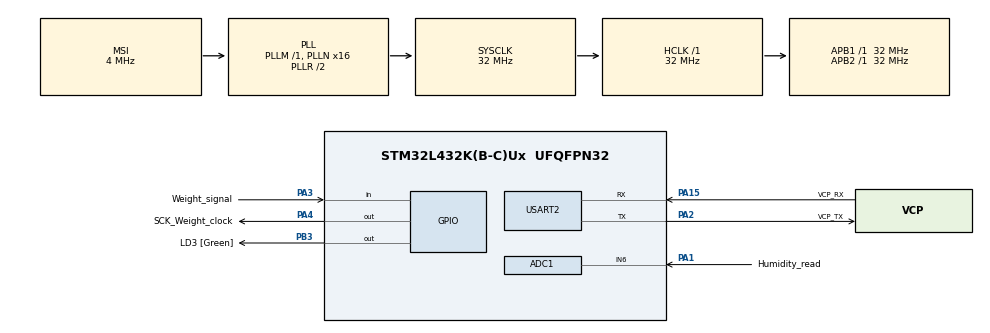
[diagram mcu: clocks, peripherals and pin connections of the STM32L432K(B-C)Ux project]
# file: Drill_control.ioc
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ADC1.Channel-0\#ChannelRegularConversion=ADC_CHANNEL_6
ADC1.NbrOfConversionFlag=1
ADC1.OffsetNumber-0\#ChannelRegularConversion=ADC_OFFSET_NONE
ADC1.Rank-0\#ChannelRegularConversion=1
ADC1.SamplingTime-0\#ChannelRegularConversion=ADC_SAMPLETIME_2CYCLES_5
ADC1.master=1
Mcu.Family=STM32L4
Mcu.Name=STM32L432K(B-C)Ux
Mcu.Package=UFQFPN32
NVIC.PriorityGroup=NVIC_PRIORITYGROUP_4
PA0.GPIO_Label=MCO [High speed clock in]
PA0.Mode=HSE-External-Clock-Source-for-LittleOrca
PA0.Signal=RCC_CK_IN
PA1.GPIO_Label=Humidity_read
PA1.GPIO_PuPd=GPIO_NOPULL
PA1.Signal=SharedAnalog_PA1
PA13\ (JTMS-SWDIO).GPIO_Label=SWDIO
PA13\ (JTMS-SWDIO).Mode=Serial_Wire
PA13\ (JTMS-SWDIO).Signal=SYS_JTMS-SWDIO
PA14\ (JTCK-SWCLK).GPIO_Label=SWCLK
PA14\ (JTCK-SWCLK).Mode=Serial_Wire
PA14\ (JTCK-SWCLK).Signal=SYS_JTCK-SWCLK
PA15\ (JTDI).GPIO_Label=VCP_RX
PA15\ (JTDI).Mode=Asynchronous
PA15\ (JTDI).Signal=USART2_RX
PA2.GPIO_Label=VCP_TX
PA2.Mode=Asynchronous
PA2.Signal=USART2_TX
PA3.GPIO_Label=Weight_signal
PA3.GPIO_PuPd=GPIO_PULLUP
PA3.Signal=GPIO_Input
PA4.GPIO_Label=SCK_Weight_clock
PA4.GPIO_Speed=GPIO_SPEED_FREQ_HIGH
PA4.Signal=GPIO_Output
PB3\ (JTDO-TRACESWO).GPIO_Label=LD3 [Green]
PB3\ (JTDO-TRACESWO).GPIO_Speed=GPIO_SPEED_FREQ_HIGH
PB3\ (JTDO-TRACESWO).Signal=GPIO_Output
PC14-OSC32_IN\ (PC14).Mode=LSE-External-Oscillator
PC14-OSC32_IN\ (PC14).Signal=RCC_OSC32_IN
PC15-OSC32_OUT\ (PC15).Mode=LSE-External-Oscillator
PC15-OSC32_OUT\ (PC15).Signal=RCC_OSC32_OUT
ProjectManager.HeapSize=0x200
ProjectManager.StackSize=0x400
ProjectManager.TargetToolchain=STM32CubeIDE
RCC.ADCFreq_Value=32000000
RCC.AHBFreq_Value=32000000
RCC.APB1Freq_Value=32000000
RCC.APB1TimFreq_Value=32000000
RCC.APB2Freq_Value=32000000
RCC.APB2TimFreq_Value=32000000
RCC.CortexFreq_Value=32000000
RCC.HCLKFreq_Value=32000000
RCC.HSE_VALUE=8000000
RCC.HSI16_VALUE=16000000
RCC.HSI48_VALUE=48000000
RCC.HSI_VALUE=16000000
RCC.MSI_VALUE=4000000
RCC.PLLMUL=RCC_PLLMUL_4
RCC.PLLN=16
RCC.PLLSAI1N=16
RCC.SYSCLKFreq_VALUE=32000000
RCC.SYSCLKSource=RCC_SYSCLKSOURCE_PLLCLK
RCC.USBFreq_Value=32000000
RCC.VCOOutputFreq_Value=64000000
SH.SharedAnalog_PA1.0=GPIO_Analog
SH.SharedAnalog_PA1.1=ADC1_IN6,IN6-Single-Ended
USART2.VirtualMode-Asynchronous=VM_ASYNC
board=NUCLEO-L432KC

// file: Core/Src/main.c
/* USER CODE BEGIN Header */
/**
  ******************************************************************************
  * @file           : main.c
  * @brief          : Main program body
  ******************************************************************************
  * @attention
  *
  * Copyright (c) 2026 STMicroelectronics.
  * All rights reserved.
  *
  * This software is licensed under terms that can be found in the LICENSE file
  * in the root directory of this software component.
  * If no LICENSE file comes with this software, it is provided AS-IS.
  *
  ******************************************************************************
  */
/* USER CODE END Header */
#include "main.h"

/* USER CODE BEGIN Includes */

#include<string.h>
#include "stdio.h"
#include "stm32l4xx_hal_adc.h"
#include "hx711.h"
/* USER CODE END Includes */

ADC_HandleTypeDef hadc1;

UART_HandleTypeDef huart2;

void SystemClock_Config(void);
static void MX_GPIO_Init(void);
static void MX_USART2_UART_Init(void);
static void MX_ADC1_Init(void);

/* USER CODE BEGIN 0 */

int sendUsart2Message(const char * message)
{
	// The null makes the code more reliable in case of internal errors
	// e.g. floats in code can spoil all output messages
	int message_len = strlen(message);
	return HAL_UART_Transmit(&huart2, (uint8_t*)message, message_len, HAL_MAX_DELAY);

}

int readHumidity()
{
	// We assume that the signal is provided to PA1 pin called A1 on the board.
	// The voltage provided is 3.3v.

	//the function gives humidity values on the scale 0-100%.

	/* The humidity sensor has scale MAX_HUMIDITY_LEVEL-MAX_DRYNESS_LEVEL.
	* MAX_DRYNESS_LEVEL is found by placing the sensor in dry air.
	* Should a higher value be noted, please change the value of the constant.
	* In the sensor's signal, values close to 0 indicate very high humidity,
	* like dipping the sensor in water.
	* The sensor's signal is proportional to the humidity registered:
	* The scale is 12cm. Dip it in water up to 4cm and you get 33% humidity.
	* Dip it up to 8cm and you get 69%. Go all in up to the end of the scale and you get 100%.
	*/
	int MAXIMAL_DRYNESS_SIGNAL = 3620;
	int MAXIMAL_HUMIDITY_SIGNAL = 45;

	int HUMIDITY_RANGE = MAXIMAL_DRYNESS_SIGNAL-MAXIMAL_HUMIDITY_SIGNAL;

	uint32_t adc_value = 0;

	HAL_ADC_Start(&hadc1);
	HAL_ADC_PollForConversion(&hadc1, HAL_MAX_DELAY);
	adc_value = HAL_ADC_GetValue(&hadc1);
	HAL_ADC_Stop(&hadc1);

	int humidity=100*(MAXIMAL_DRYNESS_SIGNAL-adc_value)/HUMIDITY_RANGE;

	if (humidity>100)
		return 100;
	if (humidity<0)
		return 0;

	return humidity;
}

void initWeight(){
	/*
	 * In this configuration:
	 * Weight_signal on PA3 or A2
	 * SCK_Weight_clock on PA4 or A3
	 */

	char buffer[128];

	sprintf(buffer,"HX711 initialization\n\r");
	sendUsart2Message(buffer);

	/* Initialize the hx711 sensors */
	hx711_Init(Weight_signal_GPIO_Port, Weight_signal_Pin, SCK_Weight_clock_GPIO_Port, SCK_Weight_clock_Pin);

	/* Configure gain for each channel */
	setGain(128, 32); //128, 32

	/* Set HX711 scaling factor */
	setScale(1096, -10.98); //-44.25, -10.98

	/* Tare weight */
	tareAll(10);

	sprintf(buffer,"HX711 module has been initialized\n\r");
	sendUsart2Message(buffer);
}

float measureWeight(){
	long weightA = 0;
	long weightB = 0;

	// Measure the weight for channel A
	weightA = getWeight(10, CHANNEL_A);

	// Weight cannot be negative
	weightA = (weightA < 0) ? 0 : weightA;

	/* The section below can be used later if it's necessary for the weight's accuracy
	 *
	 * HAL_Delay(200);
	// Measure the weight for channel B
	weightB = getWeight(10, CHANNEL_B);
	// Weight cannot be negative
	weightB = (weightB < 0) ? 0 : weightB;
	*/

	char buffer[128] = {0};

	sprintf(buffer,"Waga %ld \n\r", weightA);
	sendUsart2Message(buffer);

	return weightA;
}

/* USER CODE END 0 */

int main(void)
{

  /* MCU Configuration--------------------------------------------------------*/

  /* Reset of all peripherals, Initializes the Flash interface and the Systick. */
  HAL_Init();

  /* USER CODE BEGIN Init */

  /* Configure the system clock */
  SystemClock_Config();

  /* USER CODE BEGIN SysInit */
  /* USER CODE END SysInit */

  /* Initialize all configured peripherals */
  MX_GPIO_Init();
  MX_USART2_UART_Init();
  MX_ADC1_Init();
  /* USER CODE BEGIN 2 */

  initWeight();
    /* USER CODE END Init */

  char message[200];

  //int humidity;
  int weight_miligrams;

  /* USER CODE END 2 */

  /* Infinite loop */
  while (1)
  {

    /* USER CODE BEGIN 3 */
	  /*
	  humidity = readHumidity();

	  sprintf(message, "Humidity: %d\%%\r\n", humidity);

	  sendUsart2Message(message);
	  */
	  sendUsart2Message("A cycle has started\r\n");

	  measureWeight();

	  HAL_Delay(1000); // give UART time to flush

	  /*

	  weight_miligrams=(int)readWeight();

	  sprintf(message, "Weight: %d\r\n", weight_miligrams);

	  sendUsart2Message(message);

	  HAL_Delay(1000);
	  */

  }
  /* USER CODE END 3 */
}

void SystemClock_Config(void)
{
  RCC_OscInitTypeDef RCC_OscInitStruct = {0};
  RCC_ClkInitTypeDef RCC_ClkInitStruct = {0};

  /** Configure the main internal regulator output voltage
  */
  if (HAL_PWREx_ControlVoltageScaling(PWR_REGULATOR_VOLTAGE_SCALE1) != HAL_OK)
  {
    Error_Handler();
  }

  /** Configure LSE Drive Capability
  */
  HAL_PWR_EnableBkUpAccess();
  __HAL_RCC_LSEDRIVE_CONFIG(RCC_LSEDRIVE_LOW);

  /** Initializes the RCC Oscillators according to the specified parameters
  * in the RCC_OscInitTypeDef structure.
  */
  RCC_OscInitStruct.OscillatorType = RCC_OSCILLATORTYPE_LSE|RCC_OSCILLATORTYPE_MSI;
  RCC_OscInitStruct.LSEState = RCC_LSE_ON;
  RCC_OscInitStruct.MSIState = RCC_MSI_ON;
  RCC_OscInitStruct.MSICalibrationValue = 0;
  RCC_OscInitStruct.MSIClockRange = RCC_MSIRANGE_6;
  RCC_OscInitStruct.PLL.PLLState = RCC_PLL_ON;
  RCC_OscInitStruct.PLL.PLLSource = RCC_PLLSOURCE_MSI;
  RCC_OscInitStruct.PLL.PLLM = 1;
  RCC_OscInitStruct.PLL.PLLN = 16;
  RCC_OscInitStruct.PLL.PLLP = RCC_PLLP_DIV7;
  RCC_OscInitStruct.PLL.PLLQ = RCC_PLLQ_DIV2;
  RCC_OscInitStruct.PLL.PLLR = RCC_PLLR_DIV2;
  if (HAL_RCC_OscConfig(&RCC_OscInitStruct) != HAL_OK)
  {
    Error_Handler();
  }

  /** Initializes the CPU, AHB and APB buses clocks
  */
  RCC_ClkInitStruct.ClockType = RCC_CLOCKTYPE_HCLK|RCC_CLOCKTYPE_SYSCLK
                              |RCC_CLOCKTYPE_PCLK1|RCC_CLOCKTYPE_PCLK2;
  RCC_ClkInitStruct.SYSCLKSource = RCC_SYSCLKSOURCE_PLLCLK;
  RCC_ClkInitStruct.AHBCLKDivider = RCC_SYSCLK_DIV1;
  RCC_ClkInitStruct.APB1CLKDivider = RCC_HCLK_DIV1;
  RCC_ClkInitStruct.APB2CLKDivider = RCC_HCLK_DIV1;

  if (HAL_RCC_ClockConfig(&RCC_ClkInitStruct, FLASH_LATENCY_1) != HAL_OK)
  {
    Error_Handler();
  }

  /** Enable MSI Auto calibration
  */
  HAL_RCCEx_EnableMSIPLLMode();
}

static void MX_ADC1_Init(void)
{

  ADC_ChannelConfTypeDef sConfig = {0};

  /** Common config
  */
  hadc1.Instance = ADC1;
  hadc1.Init.ClockPrescaler = ADC_CLOCK_ASYNC_DIV1;
  hadc1.Init.Resolution = ADC_RESOLUTION_12B;
  hadc1.Init.DataAlign = ADC_DATAALIGN_RIGHT;
  hadc1.Init.ScanConvMode = ADC_SCAN_DISABLE;
  hadc1.Init.EOCSelection = ADC_EOC_SINGLE_CONV;
  hadc1.Init.LowPowerAutoWait = DISABLE;
  hadc1.Init.ContinuousConvMode = DISABLE;
  hadc1.Init.NbrOfConversion = 1;
  hadc1.Init.DiscontinuousConvMode = DISABLE;
  hadc1.Init.ExternalTrigConv = ADC_SOFTWARE_START;
  hadc1.Init.ExternalTrigConvEdge = ADC_EXTERNALTRIGCONVEDGE_NONE;
  hadc1.Init.DMAContinuousRequests = DISABLE;
  hadc1.Init.Overrun = ADC_OVR_DATA_PRESERVED;
  hadc1.Init.OversamplingMode = DISABLE;
  if (HAL_ADC_Init(&hadc1) != HAL_OK)
  {
    Error_Handler();
  }

  /** Configure Regular Channel
  */
  sConfig.Channel = ADC_CHANNEL_6;
  sConfig.Rank = ADC_REGULAR_RANK_1;
  sConfig.SamplingTime = ADC_SAMPLETIME_2CYCLES_5;
  sConfig.SingleDiff = ADC_SINGLE_ENDED;
  sConfig.OffsetNumber = ADC_OFFSET_NONE;
  sConfig.Offset = 0;
  if (HAL_ADC_ConfigChannel(&hadc1, &sConfig) != HAL_OK)
  {
    Error_Handler();
  }

}

static void MX_USART2_UART_Init(void)
{

  huart2.Instance = USART2;
  huart2.Init.BaudRate = 115200;
  huart2.Init.WordLength = UART_WORDLENGTH_8B;
  huart2.Init.StopBits = UART_STOPBITS_1;
  huart2.Init.Parity = UART_PARITY_NONE;
  huart2.Init.Mode = UART_MODE_TX_RX;
  huart2.Init.HwFlowCtl = UART_HWCONTROL_NONE;
  huart2.Init.OverSampling = UART_OVERSAMPLING_16;
  huart2.Init.OneBitSampling = UART_ONE_BIT_SAMPLE_DISABLE;
  huart2.AdvancedInit.AdvFeatureInit = UART_ADVFEATURE_NO_INIT;
  if (HAL_UART_Init(&huart2) != HAL_OK)
  {
    Error_Handler();
  }

}

static void MX_GPIO_Init(void)
{
  GPIO_InitTypeDef GPIO_InitStruct = {0};

  /* GPIO Ports Clock Enable */
  __HAL_RCC_GPIOC_CLK_ENABLE();
  __HAL_RCC_GPIOA_CLK_ENABLE();
  __HAL_RCC_GPIOB_CLK_ENABLE();

  /*Configure GPIO pin Output Level */
  HAL_GPIO_WritePin(SCK_Weight_clock_GPIO_Port, SCK_Weight_clock_Pin, GPIO_PIN_RESET);

  /*Configure GPIO pin Output Level */
  HAL_GPIO_WritePin(LD3_GPIO_Port, LD3_Pin, GPIO_PIN_RESET);

  /*Configure GPIO pin : Weight_signal_Pin */
  GPIO_InitStruct.Pin = Weight_signal_Pin;
  GPIO_InitStruct.Mode = GPIO_MODE_INPUT;
  GPIO_InitStruct.Pull = GPIO_PULLUP;
  HAL_GPIO_Init(Weight_signal_GPIO_Port, &GPIO_InitStruct);

  /*Configure GPIO pin : SCK_Weight_clock_Pin */
  GPIO_InitStruct.Pin = SCK_Weight_clock_Pin;
  GPIO_InitStruct.Mode = GPIO_MODE_OUTPUT_PP;
  GPIO_InitStruct.Pull = GPIO_NOPULL;
  GPIO_InitStruct.Speed = GPIO_SPEED_FREQ_HIGH;
  HAL_GPIO_Init(SCK_Weight_clock_GPIO_Port, &GPIO_InitStruct);

  /*Configure GPIO pin : LD3_Pin */
  GPIO_InitStruct.Pin = LD3_Pin;
  GPIO_InitStruct.Mode = GPIO_MODE_OUTPUT_PP;
  GPIO_InitStruct.Pull = GPIO_NOPULL;
  GPIO_InitStruct.Speed = GPIO_SPEED_FREQ_HIGH;
  HAL_GPIO_Init(LD3_GPIO_Port, &GPIO_InitStruct);

}

void Error_Handler(void)
{
  __disable_irq();
  while (1)
  {
  }
}
